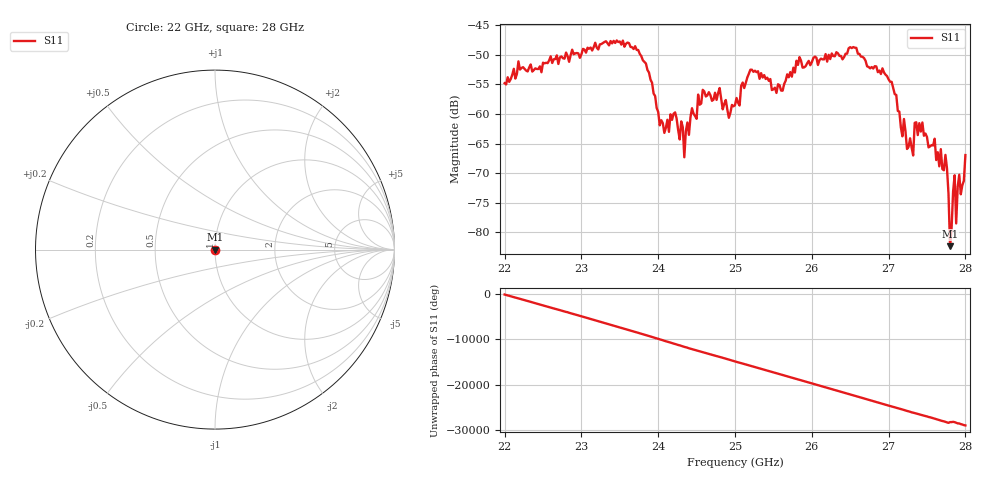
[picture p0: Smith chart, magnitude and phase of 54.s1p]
#  HZ  S  RI  R  50.00
! Rohde & Schwarz ZVA40 4Ports - Version 3.90 - 1145.1110k42 SN: 100403
! Date: 2023-10-04 08:52:47
! Measurement: S12
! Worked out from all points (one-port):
!   301 points, 22 GHz to 28 GHz, reference 50 ohm
!   lowest |S11| = -82.4 dB at 27.8 GHz (marker M1), VSWR 1.00, Z = 50 - j0.00468 ohm
!   |S11| at or under -10 dB: start of sweep to end of sweep
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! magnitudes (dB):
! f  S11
! 22 GHz  -54.8
! 22.76 GHz  -50.6
! 23.5 GHz  -47.7
! 23.84 GHz  -51.4
! 24.08 GHz  -63.2
! 24.22 GHz  -59.7
! 24.26 GHz  -62.7
! 24.32 GHz  -62.2
! 24.34 GHz  -67.3
! 24.38 GHz  -61.4
! 24.58 GHz  -55.9
! 25 GHz  -58.5
! 25.2 GHz  -52.5
! 25.54 GHz  -56.4
! 25.76 GHz  -52.2
! 26.5 GHz  -48.7
! 27.04 GHz  -54.6
! 27.26 GHz  -65.6
! 27.32 GHz  -67.0
! 27.44 GHz  -61.4
! 27.66 GHz  -68.8
! 27.74 GHz  -66.9
! 27.8 GHz  -82.4
! 27.86 GHz  -70.4
! 27.88 GHz  -78.5
! 27.92 GHz  -70.3
! 27.94 GHz  -73.6
! 28 GHz  -66.9
